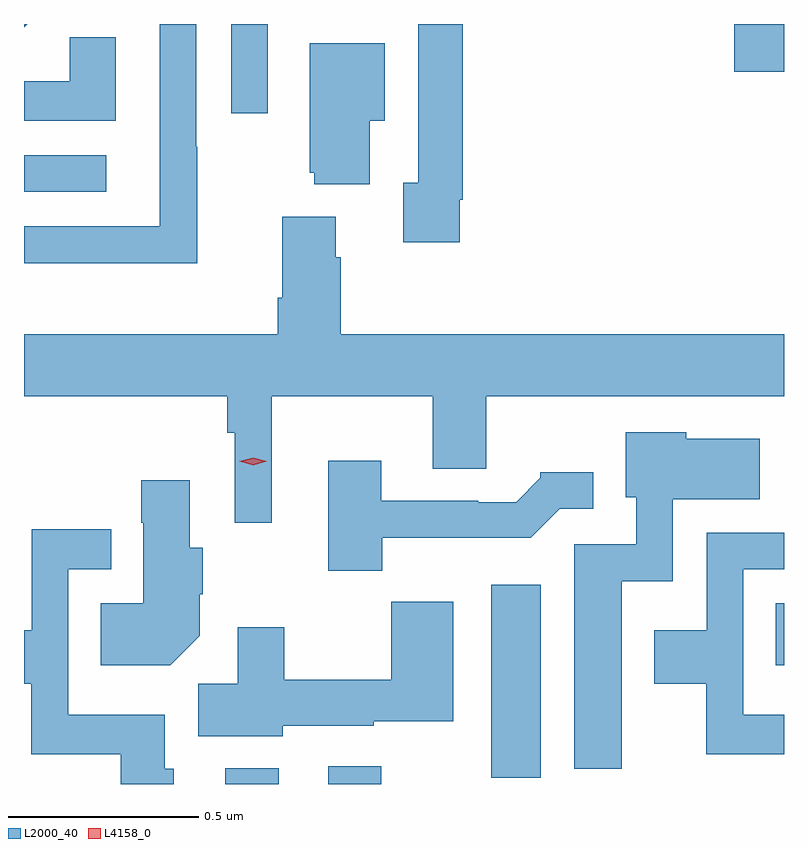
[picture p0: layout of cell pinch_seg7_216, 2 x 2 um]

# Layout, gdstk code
import gdstk
lib = gdstk.Library(unit=1e-6, precision=1e-09)
def R(c, l, rs):  # rectangles x0, y0, x1, y1
    for r in rs: c.add(gdstk.rectangle(r[:2], r[2:], *l))
def P(c, l, *ps):  # polygons
    for p in ps: c.add(gdstk.Polygon(p, *l))
L2000_40 = (2000, 40)
L4158_0 = (4158, 0)

pinch_seg7_216 = lib.new_cell('pinch_seg7_216')
R(pinch_seg7_216, L2000_40, [(659.723,1070.192,659.863,1070.233), (659.993,1070.192,660.133,1070.239), (660.422,1070.208,660.553,1070.716), (661.171,1070.504,661.193,1070.668), (659.193,1071.75,659.41,1071.846), (659.739,1071.957,659.835,1072.192), (661.062,1072.067,661.193,1072.192)])
P(pinch_seg7_216, L2000_40, [(660.34,1071.73),(660.347,1071.73),(660.347,1072.192),(660.231,1072.192),(660.231,1071.774),(660.191,1071.774),(660.191,1071.618),(660.34,1071.618)],
  [(659.649,1071.869),(659.646,1071.869),(659.646,1072.192),(659.55,1072.192),(659.55,1071.66),(659.193,1071.66),(659.193,1071.563),(659.649,1071.563)],
  [(659.201,1072.192),(659.193,1072.192),(659.193,1072.184)],
  [(659.434,1072.157),(659.313,1072.157),(659.313,1072.042),(659.193,1072.042),(659.193,1071.938),(659.434,1071.938)],
  [(660.103,1071.938),(660.142,1071.938),(660.142,1072.141),(659.945,1072.141),(659.945,1071.801),(659.957,1071.801),(659.957,1071.77),(660.103,1071.77)],
  [(659.845,1071.212),(660.269,1071.212),(660.269,1071.022),(660.409,1071.022),(660.409,1071.212),(661.193,1071.212),(661.193,1071.376),(660.026,1071.376),(660.026,1071.578),(660.013,1071.578),(660.013,1071.685),(659.873,1071.685),(659.873,1071.472),(659.861,1071.472),(659.861,1071.376),(659.193,1071.376),(659.193,1071.212),(659.728,1071.212),(659.728,1071.116),(659.748,1071.116),(659.748,1070.88),(659.845,1070.88)],
  [(660.766,1070.726),(660.9,1070.726),(660.9,1070.942),(661.129,1070.942),(661.129,1071.1),(660.936,1071.1),(660.936,1071.118),(660.776,1071.118),(660.776,1070.946),(660.804,1070.946),(660.804,1070.823),(660.641,1070.823),(660.641,1070.232),(660.766,1070.232)],
  [(660.136,1070.84),(660.527,1070.84),(660.603,1070.916),(660.691,1070.916),(660.691,1071.013),(660.552,1071.013),(660.552,1070.998),(660.488,1070.934),(660.389,1070.934),(660.389,1070.937),(660.133,1070.937),(660.133,1071.043),(659.993,1071.043),(659.993,1070.753),(660.136,1070.753)],
  [(659.656,1070.582),(659.656,1070.692),(659.664,1070.692),(659.664,1070.814),(659.629,1070.814),(659.629,1070.992),(659.502,1070.992),(659.502,1070.879),(659.507,1070.879),(659.507,1070.668),(659.395,1070.668),(659.395,1070.504),(659.578,1070.504)],
  [(659.587,1070.232),(659.563,1070.232),(659.563,1070.374),(659.31,1070.374),(659.31,1070.757),(659.422,1070.757),(659.422,1070.863),(659.214,1070.863),(659.214,1070.596),(659.193,1070.596),(659.193,1070.456),(659.212,1070.456),(659.212,1070.27),(659.447,1070.27),(659.447,1070.192),(659.587,1070.192)],
  [(661.193,1070.374),(661.086,1070.374),(661.086,1070.757),(661.193,1070.757),(661.193,1070.853),(660.99,1070.853),(660.99,1070.596),(660.851,1070.596),(660.851,1070.456),(660.988,1070.456),(660.988,1070.27),(661.193,1070.27)],
  [(659.874,1070.345),(660.114,1070.345),(660.114,1070.357),(660.322,1070.357),(660.322,1070.671),(660.16,1070.671),(660.16,1070.467),(659.878,1070.467),(659.878,1070.605),(659.756,1070.605),(659.756,1070.456),(659.651,1070.456),(659.651,1070.318),(659.874,1070.318)])
P(pinch_seg7_216, L4158_0, [(659.796,1071.031),(659.76,1071.041),(659.76,1071.041),(659.76,1071.041),(659.796,1071.051),(659.832,1071.041),(659.832,1071.041),(659.832,1071.041)])

lib.write_gds('pinch_seg7_216.gds')
